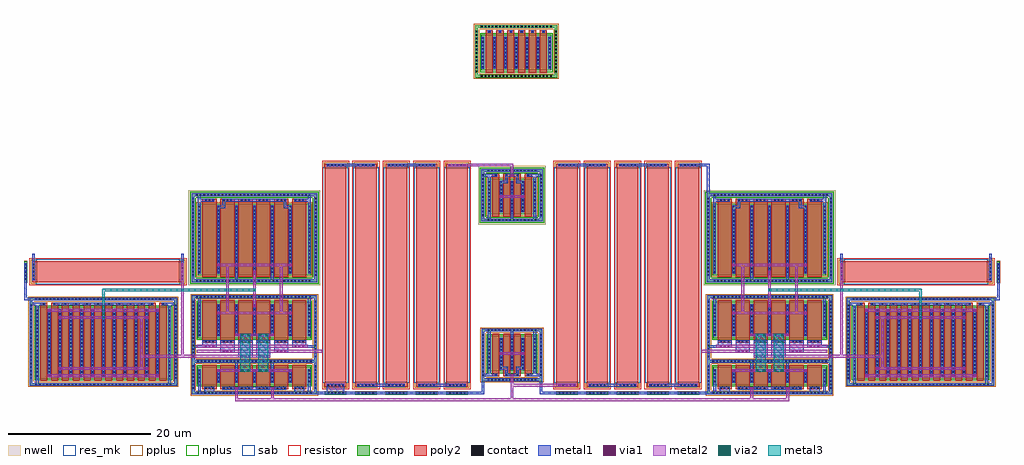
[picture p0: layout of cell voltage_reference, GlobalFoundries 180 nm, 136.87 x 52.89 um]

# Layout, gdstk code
from math import pi, radians
import gdstk
lib = gdstk.Library(unit=1e-6, precision=5e-09)
def R(c, l, rs):  # rectangles x0, y0, x1, y1
    for r in rs: c.add(gdstk.rectangle(r[:2], r[2:], *l))
def A(c, l, x, y, w, h, nx, ny, dx, dy):  # array of equal rectangles
    R(c, l, [(x+i*dx, y+j*dy, x+i*dx+w, y+j*dy+h) for i in range(nx) for j in range(ny)])
def P(c, l, *ps):  # polygons
    for p in ps: c.add(gdstk.Polygon(p, *l))
nwell = (21, 0)
comp = (22, 0)
poly2 = (30, 0)
pplus = (31, 0)
nplus = (32, 0)
contact = (33, 0)
metal1 = (34, 0)
via1 = (35, 0)
metal2 = (36, 0)
via2 = (38, 0)
metal3 = (42, 0)
sab = (49, 0)
resistor = (62, 0)
res_mk = (110, 5)

nfet = lib.new_cell('nfet')
R(nfet, comp, [(-0.42,0,0,2.5), (0,0,14.98,2.5), (14.98,0,15.4,2.5)])
P(nfet, comp, [(-1.28,-1.36),(-1.28,3.11),(-0.9,3.11),(-0.9,-0.98),(15.88,-0.98),(15.88,3.11),(-1.28,3.11),(-1.28,3.49),(16.26,3.49),(16.26,-1.36)])
A(nfet, poly2, 0.19, -0.66, 2, 0.36, 6, 1, 2.52, 0)
A(nfet, poly2, 0.19, -0.3, 2, 3.1, 6, 1, 2.52, 0)
P(nfet, pplus, [(-1.45,-1.53),(-1.45,2.94),(-0.73,2.94),(-0.73,-0.81),(15.71,-0.81),(15.71,2.94),(-1.45,2.94),(-1.45,3.66),(16.43,3.66),(16.43,-1.53)])
R(nfet, nplus, [(-0.59,-0.24,15.57,2.74)])
A(nfet, contact, -0.525, -1.28, 0.22, 0.22, 32, 2, 0.51, 4.47)
A(nfet, contact, 0.57, -0.59, 0.22, 0.22, 3, 1, 0.51, 0)
A(nfet, contact, 3.09, -0.59, 0.22, 0.22, 3, 1, 0.51, 0)
A(nfet, contact, 5.61, -0.59, 0.22, 0.22, 3, 1, 0.51, 0)
A(nfet, contact, 8.13, -0.59, 0.22, 0.22, 3, 1, 0.51, 0)
A(nfet, contact, 10.65, -0.59, 0.22, 0.22, 3, 1, 0.51, 0)
A(nfet, contact, 13.17, -0.59, 0.22, 0.22, 3, 1, 0.51, 0)
A(nfet, contact, -1.2, -0.575, 0.22, 0.22, 1, 7, 0, 0.51)
A(nfet, contact, 15.96, -0.575, 0.22, 0.22, 1, 7, 0, 0.51)
A(nfet, contact, -0.32, 0.375, 0.22, 0.22, 1, 4, 0, 0.51)
A(nfet, contact, 2.34, 0.375, 0.22, 0.22, 5, 4, 2.52, 0.51)
A(nfet, contact, 15.08, 0.375, 0.22, 0.22, 1, 4, 0, 0.51)
A(nfet, metal1, 0.49, -0.67, 1.4, 0.38, 6, 1, 2.52, 0)
A(nfet, metal1, 2.26, 0.295, 0.38, 1.91, 5, 1, 2.52, 0)
R(nfet, metal1, [(-0.4,0.295,-0.02,2.205), (15,0.295,15.38,2.205)])

nfet_3 = lib.new_cell('nfet$3')
R(nfet_3, comp, [(-0.42,0,0,10), (0,0,18.1,10), (18.1,0,18.52,10)])
P(nfet_3, comp, [(-1.28,-0.99),(-1.28,10.98),(-0.9,10.98),(-0.9,-0.61),(19,-0.61),(19,10.98),(-1.28,10.98),(-1.28,11.36),(19.38,11.36),(19.38,-0.99)])
A(nfet_3, poly2, 0.19, -0.3, 1, 10.6, 12, 1, 1.52, 0)
A(nfet_3, poly2, 0.19, 10.3, 1, 0.36, 12, 1, 1.52, 0)
P(nfet_3, pplus, [(-1.45,-1.16),(-1.45,10.81),(-0.73,10.81),(-0.73,-0.44),(18.83,-0.44),(18.83,10.81),(-1.45,10.81),(-1.45,11.53),(19.55,11.53),(19.55,-1.16)])
R(nfet_3, nplus, [(-0.59,-0.24,18.69,10.24)])
A(nfet_3, contact, -0.495, -0.91, 0.22, 0.22, 38, 2, 0.51, 11.97)
A(nfet_3, contact, -1.2, -0.025, 0.22, 0.22, 1, 21, 0, 0.51)
A(nfet_3, contact, 19.08, -0.025, 0.22, 0.22, 1, 21, 0, 0.51)
A(nfet_3, contact, -0.32, 0.3, 0.22, 0.22, 1, 19, 0, 0.51)
A(nfet_3, contact, 1.34, 0.3, 0.22, 0.22, 11, 19, 1.52, 0.51)
A(nfet_3, contact, 18.2, 0.3, 0.22, 0.22, 1, 19, 0, 0.51)
A(nfet_3, contact, 0.58, 10.37, 0.22, 0.22, 12, 1, 1.52, 0)
A(nfet_3, metal1, 1.26, 0.22, 0.38, 9.56, 11, 1, 1.52, 0)
A(nfet_3, metal1, 0.5, 10.29, 0.38, 0.38, 12, 1, 1.52, 0)
R(nfet_3, metal1, [(-0.4,0.22,-0.02,9.78), (18.12,0.22,18.5,9.78)])

ppolyf_u_high_rs_resisto = lib.new_cell('ppolyf_u_high_Rs_resistor')
R(ppolyf_u_high_rs_resisto, comp, [(-1.76,0,-1.34,3)])
R(ppolyf_u_high_rs_resisto, poly2, [(-0.64,0,20.64,3)])
R(ppolyf_u_high_rs_resisto, pplus, [(-0.82,-0.18,0,3.18), (20,-0.18,20.82,3.18), (-1.78,-0.02,-1.32,3.02)])
A(ppolyf_u_high_rs_resisto, contact, -1.66, 0.37, 0.22, 0.22, 1, 5, 0, 0.51)
A(ppolyf_u_high_rs_resisto, contact, -0.57, 0.37, 0.22, 0.22, 1, 5, 0, 0.51)
A(ppolyf_u_high_rs_resisto, contact, 20.35, 0.37, 0.22, 0.22, 1, 5, 0, 0.51)
R(ppolyf_u_high_rs_resisto, metal1, [(-1.74,0.29,-1.36,2.71), (-0.65,0.29,-0.27,2.71), (20.27,0.29,20.65,2.71)])
R(ppolyf_u_high_rs_resisto, sab, [(-0.1,-0.28,20.1,3.28)])
R(ppolyf_u_high_rs_resisto, resistor, [(-1.04,-0.4,21.04,3.4)])
R(ppolyf_u_high_rs_resisto, res_mk, [(0,0,20,3)])

pfet = lib.new_cell('pfet')
R(pfet, nwell, [(-1.76,-1.81,7.7,6.43)])
R(pfet, comp, [(-0.46,0,0,5), (0,0,5.94,5), (5.94,0,6.4,5)])
P(pfet, comp, [(-1.32,-1.37),(-1.32,5.61),(-0.94,5.61),(-0.94,-0.99),(6.88,-0.99),(6.88,5.61),(-1.32,5.61),(-1.32,5.99),(7.26,5.99),(7.26,-1.37)])
A(pfet, poly2, 0.19, -0.68, 1, 0.38, 4, 1, 1.52, 0)
A(pfet, poly2, 0.19, -0.3, 1, 5.6, 4, 1, 1.52, 0)
R(pfet, pplus, [(-0.63,-0.24,6.57,5.24)])
A(pfet, contact, -0.455, -1.29, 0.22, 0.22, 14, 2, 0.51, 6.98)
A(pfet, contact, -1.24, -0.605, 0.22, 0.22, 1, 12, 0, 0.51)
A(pfet, contact, 6.96, -0.605, 0.22, 0.22, 1, 12, 0, 0.51)
A(pfet, contact, 0.58, -0.6, 0.22, 0.22, 4, 1, 1.52, 0)
A(pfet, contact, -0.34, 0.35, 0.22, 0.22, 1, 9, 0, 0.51)
A(pfet, contact, 1.34, 0.35, 0.22, 0.22, 3, 9, 1.52, 0.51)
A(pfet, contact, 6.06, 0.35, 0.22, 0.22, 1, 9, 0, 0.51)
A(pfet, metal1, 0.5, -0.68, 0.38, 0.38, 4, 1, 1.52, 0)
A(pfet, metal1, 1.26, 0.27, 0.38, 4.46, 3, 1, 1.52, 0)
R(pfet, metal1, [(-0.42,0.27,-0.04,4.73), (5.98,0.27,6.36,4.73)])

c_ppolyf_u_high_rs_resisto = lib.new_cell('ppolyf_u_high_Rs_resistor$1')
R(c_ppolyf_u_high_rs_resisto, comp, [(-1.76,0,-1.34,3)])
R(c_ppolyf_u_high_rs_resisto, poly2, [(-0.64,0,30.64,3)])
R(c_ppolyf_u_high_rs_resisto, pplus, [(-0.82,-0.18,0,3.18), (30,-0.18,30.82,3.18), (-1.78,-0.02,-1.32,3.02)])
A(c_ppolyf_u_high_rs_resisto, contact, -1.66, 0.37, 0.22, 0.22, 1, 5, 0, 0.51)
A(c_ppolyf_u_high_rs_resisto, contact, -0.57, 0.37, 0.22, 0.22, 1, 5, 0, 0.51)
A(c_ppolyf_u_high_rs_resisto, contact, 30.35, 0.37, 0.22, 0.22, 1, 5, 0, 0.51)
R(c_ppolyf_u_high_rs_resisto, metal1, [(-1.74,0.29,-1.36,2.71), (-0.65,0.29,-0.27,2.71), (30.27,0.29,30.65,2.71)])
R(c_ppolyf_u_high_rs_resisto, sab, [(-0.1,-0.28,30.1,3.28)])
R(c_ppolyf_u_high_rs_resisto, resistor, [(-1.04,-0.4,31.04,3.4)])
R(c_ppolyf_u_high_rs_resisto, res_mk, [(0,0,30,3)])

nfet_2 = lib.new_cell('nfet$2')
R(nfet_2, comp, [(-0.42,0,0,5), (0,0,5.94,5), (5.94,0,6.36,5)])
P(nfet_2, comp, [(-1.28,-0.99),(-1.28,5.98),(-0.9,5.98),(-0.9,-0.61),(6.84,-0.61),(6.84,5.98),(-1.28,5.98),(-1.28,6.36),(7.22,6.36),(7.22,-0.99)])
A(nfet_2, poly2, 0.19, -0.3, 1, 5.6, 4, 1, 1.52, 0)
A(nfet_2, poly2, 0.19, 5.3, 1, 0.36, 4, 1, 1.52, 0)
P(nfet_2, pplus, [(-1.45,-1.16),(-1.45,5.81),(-0.73,5.81),(-0.73,-0.44),(6.67,-0.44),(6.67,5.81),(-1.45,5.81),(-1.45,6.53),(7.39,6.53),(7.39,-1.16)])
R(nfet_2, nplus, [(-0.59,-0.24,6.53,5.24)])
A(nfet_2, contact, -0.455, -0.91, 0.22, 0.22, 14, 2, 0.51, 6.97)
A(nfet_2, contact, -1.2, -0.23, 0.22, 0.22, 1, 12, 0, 0.51)
A(nfet_2, contact, 6.92, -0.23, 0.22, 0.22, 1, 12, 0, 0.51)
A(nfet_2, contact, -0.32, 0.35, 0.22, 0.22, 1, 9, 0, 0.51)
A(nfet_2, contact, 1.34, 0.35, 0.22, 0.22, 3, 9, 1.52, 0.51)
A(nfet_2, contact, 6.04, 0.35, 0.22, 0.22, 1, 9, 0, 0.51)
A(nfet_2, contact, 0.58, 5.37, 0.22, 0.22, 4, 1, 1.52, 0)
A(nfet_2, metal1, 1.26, 0.27, 0.38, 4.46, 3, 1, 1.52, 0)
A(nfet_2, metal1, 0.5, 5.29, 0.38, 0.38, 4, 1, 1.52, 0)
R(nfet_2, metal1, [(-0.4,0.27,-0.02,4.73), (5.96,0.27,6.34,4.73)])

nfet_4 = lib.new_cell('nfet$4')
R(nfet_4, comp, [(-0.42,0,0,5), (0,0,8.98,5), (8.98,0,9.4,5)])
P(nfet_4, comp, [(-1.28,-0.99),(-1.28,5.98),(-0.9,5.98),(-0.9,-0.61),(9.88,-0.61),(9.88,5.98),(-1.28,5.98),(-1.28,6.36),(10.26,6.36),(10.26,-0.99)])
A(nfet_4, poly2, 0.19, -0.3, 1, 5.6, 6, 1, 1.52, 0)
A(nfet_4, poly2, 0.19, 5.3, 1, 0.36, 6, 1, 1.52, 0)
P(nfet_4, pplus, [(-1.45,-1.16),(-1.45,5.81),(-0.73,5.81),(-0.73,-0.44),(9.71,-0.44),(9.71,5.81),(-1.45,5.81),(-1.45,6.53),(10.43,6.53),(10.43,-1.16)])
R(nfet_4, nplus, [(-0.59,-0.24,9.57,5.24)])
A(nfet_4, contact, -0.465, -0.91, 0.22, 0.22, 20, 2, 0.51, 6.97)
A(nfet_4, contact, -1.2, -0.23, 0.22, 0.22, 1, 12, 0, 0.51)
A(nfet_4, contact, 9.96, -0.23, 0.22, 0.22, 1, 12, 0, 0.51)
A(nfet_4, contact, -0.32, 0.35, 0.22, 0.22, 1, 9, 0, 0.51)
A(nfet_4, contact, 1.34, 0.35, 0.22, 0.22, 5, 9, 1.52, 0.51)
A(nfet_4, contact, 9.08, 0.35, 0.22, 0.22, 1, 9, 0, 0.51)
A(nfet_4, contact, 0.58, 5.37, 0.22, 0.22, 6, 1, 1.52, 0)
A(nfet_4, metal1, 1.26, 0.27, 0.38, 4.46, 5, 1, 1.52, 0)
A(nfet_4, metal1, 0.5, 5.29, 0.38, 0.38, 6, 1, 1.52, 0)
R(nfet_4, metal1, [(-0.4,0.27,-0.02,4.73), (9,0.27,9.38,4.73)])

voltage_reference = lib.new_cell('voltage_reference')
R(voltage_reference, nwell, [(6.62,29.03,25.12,42.345), (78.88,29.03,97.38,42.345)])
R(voltage_reference, comp, [(7.96,21.615,8.38,26.615), (8.38,21.615,23.36,26.615), (23.36,21.615,23.78,26.615), (80.22,21.615,80.64,26.615), (80.64,21.615,95.62,26.615), (95.62,21.615,96.04,26.615), (7.92,30.46,8.38,40.46), (8.38,30.46,23.36,40.46), (23.36,30.46,23.82,40.46), (80.18,30.46,80.64,40.46), (80.64,30.46,95.62,40.46), (95.62,30.46,96.08,40.46)])
P(voltage_reference, comp, [(79.36,18.185),(79.36,27.225),(79.74,27.225),(79.74,18.565),(96.52,18.565),(96.52,27.225),(79.36,27.225),(79.36,27.605),(96.9,27.605),(96.9,18.185)],
  [(79.32,29.47),(79.32,41.525),(79.7,41.525),(79.7,29.85),(96.56,29.85),(96.56,41.525),(79.32,41.525),(79.32,41.905),(96.94,41.905),(96.94,29.47)],
  [(7.1,18.185),(7.1,27.605),(24.64,27.605),(24.64,27.225),(7.48,27.225),(7.48,18.565),(24.26,18.565),(24.26,27.225),(24.64,27.225),(24.64,18.185)],
  [(7.06,29.47),(7.06,41.905),(24.68,41.905),(24.68,41.525),(7.44,41.525),(7.44,29.85),(24.3,29.85),(24.3,41.525),(24.68,41.525),(24.68,29.47)])
A(voltage_reference, poly2, 8.57, 20.955, 2, 0.36, 6, 1, 2.52, 0)
A(voltage_reference, poly2, 80.83, 20.955, 2, 0.36, 6, 1, 2.52, 0)
A(voltage_reference, poly2, 8.57, 21.315, 2, 5.6, 6, 1, 2.52, 0)
A(voltage_reference, poly2, 80.83, 21.315, 2, 5.6, 6, 1, 2.52, 0)
A(voltage_reference, poly2, 8.57, 30.16, 2, 10.6, 6, 1, 2.52, 0)
A(voltage_reference, poly2, 80.83, 30.16, 2, 10.6, 6, 1, 2.52, 0)
A(voltage_reference, poly2, 8.57, 40.76, 2, 0.38, 6, 1, 2.52, 0)
A(voltage_reference, poly2, 80.83, 40.76, 2, 0.38, 6, 1, 2.52, 0)
R(voltage_reference, pplus, [(7.75,30.22,23.99,40.7), (80.01,30.22,96.25,40.7)])
P(voltage_reference, pplus, [(79.19,18.015),(79.19,27.055),(79.91,27.055),(79.91,18.735),(96.35,18.735),(96.35,27.055),(79.19,27.055),(79.19,27.775),(97.07,27.775),(97.07,18.015)],
  [(6.93,18.015),(6.93,27.775),(24.81,27.775),(24.81,27.055),(7.65,27.055),(7.65,18.735),(24.09,18.735),(24.09,27.055),(24.81,27.055),(24.81,18.015)])
R(voltage_reference, nplus, [(7.79,21.375,23.95,26.855), (80.05,21.375,96.21,26.855)])
A(voltage_reference, contact, 7.855, 18.265, 0.22, 0.22, 32, 1, 0.51, 0)
A(voltage_reference, contact, 80.115, 18.265, 0.22, 0.22, 32, 1, 0.51, 0)
A(voltage_reference, contact, 7.18, 18.96, 0.22, 0.22, 1, 16, 0, 0.51)
A(voltage_reference, contact, 24.34, 18.96, 0.22, 0.22, 1, 16, 0, 0.51)
A(voltage_reference, contact, 79.44, 18.96, 0.22, 0.22, 1, 16, 0, 0.51)
A(voltage_reference, contact, 96.6, 18.96, 0.22, 0.22, 1, 16, 0, 0.51)
A(voltage_reference, contact, 8.95, 21.025, 0.22, 0.22, 3, 2, 0.51, 19.815)
A(voltage_reference, contact, 11.47, 21.025, 0.22, 0.22, 3, 2, 0.51, 19.815)
A(voltage_reference, contact, 13.99, 21.025, 0.22, 0.22, 3, 2, 0.51, 19.815)
A(voltage_reference, contact, 16.51, 21.025, 0.22, 0.22, 3, 2, 0.51, 19.815)
A(voltage_reference, contact, 19.03, 21.025, 0.22, 0.22, 3, 2, 0.51, 19.815)
A(voltage_reference, contact, 21.55, 21.025, 0.22, 0.22, 3, 2, 0.51, 19.815)
A(voltage_reference, contact, 81.21, 21.025, 0.22, 0.22, 3, 2, 0.51, 19.815)
A(voltage_reference, contact, 83.73, 21.025, 0.22, 0.22, 3, 2, 0.51, 19.815)
A(voltage_reference, contact, 86.25, 21.025, 0.22, 0.22, 3, 2, 0.51, 19.815)
A(voltage_reference, contact, 88.77, 21.025, 0.22, 0.22, 3, 2, 0.51, 19.815)
A(voltage_reference, contact, 91.29, 21.025, 0.22, 0.22, 3, 2, 0.51, 19.815)
A(voltage_reference, contact, 93.81, 21.025, 0.22, 0.22, 3, 2, 0.51, 19.815)
A(voltage_reference, contact, 8.06, 21.965, 0.22, 0.22, 1, 9, 0, 0.51)
A(voltage_reference, contact, 10.72, 21.965, 0.22, 0.22, 5, 9, 2.52, 0.51)
A(voltage_reference, contact, 23.46, 21.965, 0.22, 0.22, 1, 9, 0, 0.51)
A(voltage_reference, contact, 80.32, 21.965, 0.22, 0.22, 1, 9, 0, 0.51)
A(voltage_reference, contact, 82.98, 21.965, 0.22, 0.22, 5, 9, 2.52, 0.51)
A(voltage_reference, contact, 95.72, 21.965, 0.22, 0.22, 1, 9, 0, 0.51)
A(voltage_reference, contact, 7.73, 27.305, 0.22, 0.22, 32, 1, 0.51, 0)
A(voltage_reference, contact, 80.24, 27.305, 0.22, 0.22, 32, 1, 0.51, 0)
A(voltage_reference, contact, 7.71, 29.55, 0.22, 0.22, 32, 2, 0.51, 12.055)
A(voltage_reference, contact, 80.26, 29.55, 0.22, 0.22, 32, 2, 0.51, 12.055)
A(voltage_reference, contact, 7.14, 30.365, 0.22, 0.22, 1, 22, 0, 0.51)
A(voltage_reference, contact, 24.38, 30.365, 0.22, 0.22, 1, 22, 0, 0.51)
A(voltage_reference, contact, 79.4, 30.365, 0.22, 0.22, 1, 22, 0, 0.51)
A(voltage_reference, contact, 96.64, 30.365, 0.22, 0.22, 1, 22, 0, 0.51)
A(voltage_reference, contact, 8.04, 30.76, 0.22, 0.22, 1, 19, 0, 0.51)
A(voltage_reference, contact, 10.72, 30.76, 0.22, 0.22, 5, 19, 2.52, 0.51)
A(voltage_reference, contact, 23.48, 30.76, 0.22, 0.22, 1, 19, 0, 0.51)
A(voltage_reference, contact, 80.3, 30.76, 0.22, 0.22, 1, 19, 0, 0.51)
A(voltage_reference, contact, 82.98, 30.76, 0.22, 0.22, 5, 19, 2.52, 0.51)
A(voltage_reference, contact, 95.74, 30.76, 0.22, 0.22, 1, 19, 0, 0.51)
A(voltage_reference, metal1, 8.87, 20.945, 1.4, 0.38, 6, 2, 2.52, 19.815)
A(voltage_reference, metal1, 81.13, 20.945, 1.4, 0.38, 6, 2, 2.52, 19.815)
A(voltage_reference, metal1, 10.64, 21.885, 0.38, 4.46, 5, 1, 2.52, 0)
A(voltage_reference, metal1, 82.9, 21.885, 0.38, 4.46, 5, 1, 2.52, 0)
A(voltage_reference, metal1, 10.64, 30.68, 0.38, 9.56, 5, 1, 2.52, 0)
A(voltage_reference, metal1, 82.9, 30.68, 0.38, 9.56, 5, 1, 2.52, 0)
R(voltage_reference, metal1, [(26.05,13.715,28.47,15.185), (26.05,13.715,45.51,14.095), (58.49,13.715,77.95,14.095), (8.87,14.095,10.27,14.405), (21.47,14.095,22.87,14.405), (81.13,14.095,82.53,14.405), (93.73,14.095,95.13,14.405), (11.39,14.405,20.35,14.785), (83.65,14.405,92.61,14.785), (30.31,14.805,36.99,15.185), (38.83,14.805,45.51,15.185), (62.75,14.805,69.43,15.185), (71.27,14.805,77.95,15.185), (51.05,16.275,52.95,16.655), (13.61,18.875,15.61,21.325), (16.13,18.875,18.13,21.325), (85.87,18.875,87.87,21.325), (88.39,18.875,90.39,21.325), (11.09,19.565,13.09,21.325), (18.65,19.565,20.65,21.325), (83.35,19.565,85.35,21.325), (90.91,19.565,92.91,21.325), (8.57,20.255,10.57,21.325), (21.17,20.255,23.17,21.325), (80.83,20.255,82.83,21.325), (93.43,20.255,95.43,21.325), (7.98,21.885,8.36,26.345), (23.38,21.885,23.76,26.345), (80.24,21.885,80.62,26.345), (95.64,21.885,96.02,26.345), (-12.335,26.215,1.725,26.595), (102.275,26.215,116.335,26.595), (7.96,30.68,8.34,40.24), (23.4,30.68,23.78,40.24), (80.22,30.68,80.6,40.24), (95.66,30.68,96.04,40.24), (11.39,40.76,20.35,41.14), (83.65,40.76,92.61,41.14), (51.05,44.255,52.95,44.635), (26.05,45.725,32.73,46.105), (34.57,45.725,41.25,46.105), (58.49,45.725,65.17,46.105), (67.01,45.725,73.69,46.105)])
A(voltage_reference, via1, 58.55, 14.865, 0.26, 0.26, 3, 1, 1.02, 0)
A(voltage_reference, via1, -13.035, 16.21, 0.26, 0.26, 6, 2, 3.04, 9.175)
A(voltage_reference, via1, 101.575, 16.21, 0.26, 0.26, 6, 2, 3.04, 9.175)
A(voltage_reference, via1, -11.515, 17.23, 0.26, 0.26, 5, 2, 3.04, 7.135)
A(voltage_reference, via1, 103.095, 17.23, 0.26, 0.26, 5, 2, 3.04, 7.135)
A(voltage_reference, via1, 13.95, 18.945, 0.26, 0.26, 3, 1, 0.53, 0)
A(voltage_reference, via1, 16.47, 18.945, 0.26, 0.26, 3, 1, 0.53, 0)
A(voltage_reference, via1, 86.21, 18.945, 0.26, 0.26, 3, 1, 0.53, 0)
A(voltage_reference, via1, 88.73, 18.945, 0.26, 0.26, 3, 1, 0.53, 0)
A(voltage_reference, via1, 11.43, 19.635, 0.26, 0.26, 3, 1, 0.53, 0)
A(voltage_reference, via1, 18.99, 19.635, 0.26, 0.26, 3, 1, 0.53, 0)
A(voltage_reference, via1, 83.69, 19.635, 0.26, 0.26, 3, 1, 0.53, 0)
A(voltage_reference, via1, 91.25, 19.635, 0.26, 0.26, 3, 1, 0.53, 0)
A(voltage_reference, via1, 8.91, 20.325, 0.26, 0.26, 3, 1, 0.53, 0)
A(voltage_reference, via1, 21.51, 20.325, 0.26, 0.26, 3, 1, 0.53, 0)
A(voltage_reference, via1, 81.17, 20.325, 0.26, 0.26, 3, 1, 0.53, 0)
A(voltage_reference, via1, 93.77, 20.325, 0.26, 0.26, 3, 1, 0.53, 0)
A(voltage_reference, via1, 43.15, 45.785, 0.26, 0.26, 3, 1, 1.02, 0)
R(voltage_reference, via1, [(13.22,14.46,13.48,14.72), (18.265,14.46,18.525,14.72), (85.485,14.46,85.745,14.72), (90.525,14.46,90.785,14.72), (51.875,16.34,52.135,16.6), (10.7,16.96,10.96,17.22), (20.78,16.96,21.04,17.22), (82.96,16.96,83.22,17.22), (93.04,16.96,93.3,17.22), (15.74,16.965,16,17.225), (88,16.965,88.26,17.225), (50.35,19.31,50.61,19.57), (53.39,19.31,53.65,19.57), (13.22,21.945,13.48,22.205), (18.26,21.945,18.52,22.205), (85.48,21.945,85.74,22.205), (90.52,21.945,90.78,22.205), (10.7,25.005,10.96,25.265), (20.78,25.005,21.04,25.265), (82.96,25.005,83.22,25.265), (93.04,25.005,93.3,25.265), (15.74,26.03,16,26.29), (88,26.03,88.26,26.29), (5.675,29.78,5.935,30.04), (98.065,29.78,98.325,30.04), (15.74,30.74,16,31), (88,30.74,88.26,31), (5.675,30.795,5.935,31.055), (98.065,30.795,98.325,31.055), (10.7,31.76,10.96,32.02), (20.78,31.76,21.04,32.02), (82.96,31.76,83.22,32.02), (93.04,31.76,93.3,32.02), (5.675,31.82,5.935,32.08), (98.065,31.82,98.325,32.08), (50.35,41.34,50.61,41.6), (53.39,41.34,53.65,41.6), (51.875,44.31,52.135,44.57)])
R(voltage_reference, metal2, [(7.79,18.875,18.13,19.275), (85.87,18.875,96.21,19.275), (7.79,19.565,25.425,19.965), (78.575,19.565,96.21,19.965), (7.79,20.255,23.36,20.655), (80.64,20.255,96.21,20.655)])
R(voltage_reference, via2, [(14.02,16.96,14.28,17.22), (14.93,16.96,15.19,17.22), (16.55,16.96,16.81,17.22), (17.46,16.96,17.72,17.22), (86.28,16.96,86.54,17.22), (87.19,16.96,87.45,17.22), (88.81,16.96,89.07,17.22), (89.72,16.96,89.98,17.22), (14.02,21.945,14.28,22.205), (14.93,21.945,15.19,22.205), (16.55,21.945,16.81,22.205), (17.46,21.945,17.72,22.205), (86.28,21.945,86.54,22.205), (87.19,21.945,87.45,22.205), (88.81,21.945,89.07,22.205), (89.72,21.945,89.98,22.205), (-5.435,24.365,-5.175,24.625), (109.175,24.365,109.435,24.625), (15.74,28.24,16,28.5), (88,28.24,88.26,28.5)])
R(voltage_reference, metal3, [(13.905,16.9,15.31,22.265), (16.425,16.9,17.83,22.265), (86.17,16.9,87.575,22.265), (88.69,16.9,90.095,22.265)])
voltage_reference.add(gdstk.FlexPath([(79.55,14.5),(79.55,27.415),(96.71,27.415),(96.71,14.5),(96.71,14.5),(96.71,13.905),(79.55,13.905),(79.55,14.5)], 0.38, ends="flush", simple_path=True, layer=34, datatype=0))  # metal1
voltage_reference.add(gdstk.FlexPath([(79.74,18.375),(96.52,18.375)], 0.38, ends="flush", simple_path=True, layer=34, datatype=0))  # metal1
voltage_reference.add(gdstk.FlexPath([(79.51,41.01),(79.51,29.66),(96.75,29.66),(96.75,41.715),(79.51,41.715),(79.51,41.01)], 0.38, ends="flush", simple_path=True, layer=34, datatype=0))  # metal1
voltage_reference.add(gdstk.FlexPath([(80.43,15.37),(80.43,14.095)], 0.38, ends="flush", simple_path=True, layer=34, datatype=0))  # metal1
voltage_reference.add(gdstk.FlexPath([(77.95,13.905),(79.36,13.905)], 0.38, ends="flush", simple_path=True, layer=34, datatype=0))  # metal1
voltage_reference.add(gdstk.FlexPath([(95.83,15.37),(95.83,14.095)], 0.38, ends="flush", simple_path=True, layer=34, datatype=0))  # metal1
voltage_reference.add(gdstk.FlexPath([(80.83,20.455),(79.74,20.455)], 0.38, ends="flush", simple_path=True, layer=34, datatype=0))  # metal1
voltage_reference.add(gdstk.FlexPath([(80.43,26.345),(80.43,27.225)], 0.38, ends="flush", simple_path=True, layer=34, datatype=0))  # metal1
voltage_reference.add(gdstk.FlexPath([(95.83,26.345),(95.83,27.225)], 0.38, ends="flush", simple_path=True, layer=34, datatype=0))  # metal1
voltage_reference.add(gdstk.FlexPath([(95.43,20.455),(96.52,20.455)], 0.38, ends="flush", simple_path=True, layer=34, datatype=0))  # metal1
voltage_reference.add(gdstk.FlexPath([(83.28,40.05),(83.84,40.05),(83.84,40.76),(83.84,40.76)], 0.38, ends="flush", simple_path=True, layer=34, datatype=0))  # metal1
voltage_reference.add(gdstk.FlexPath([(92.98,40.05),(92.42,40.05),(92.42,40.76)], 0.38, ends="flush", simple_path=True, layer=34, datatype=0))  # metal1
voltage_reference.add(gdstk.FlexPath([(80.41,40.24),(80.41,40.95),(81.13,40.95),(81.13,40.95)], 0.38, ends="flush", simple_path=True, layer=34, datatype=0))  # metal1
voltage_reference.add(gdstk.FlexPath([(95.13,40.95),(95.85,40.95),(95.85,40.24)], 0.38, ends="flush", simple_path=True, layer=34, datatype=0))  # metal1
voltage_reference.add(gdstk.FlexPath([(95.85,41.14),(95.85,41.525)], 0.38, ends="flush", simple_path=True, layer=34, datatype=0))  # metal1
voltage_reference.add(gdstk.FlexPath([(80.41,41.14),(80.41,41.525)], 0.38, ends="flush", simple_path=True, layer=34, datatype=0))  # metal1
voltage_reference.add(gdstk.FlexPath([(85.61,30.68),(85.61,29.85)], 0.38, ends="flush", simple_path=True, layer=34, datatype=0))  # metal1
voltage_reference.add(gdstk.FlexPath([(90.65,30.68),(90.65,29.85)], 0.38, ends="flush", simple_path=True, layer=34, datatype=0))  # metal1
voltage_reference.add(gdstk.FlexPath([(101.135,26.405),(100.045,26.405),(100.045,25.705),(100.045,25.705)], 0.38, ends="flush", simple_path=True, layer=34, datatype=0))  # metal1
voltage_reference.add(gdstk.FlexPath([(118.565,25.705),(118.565,26.405),(117.855,26.405)], 0.38, ends="flush", simple_path=True, layer=34, datatype=0))  # metal1
voltage_reference.add(gdstk.FlexPath([(99.165,26.32),(99.165,15.125),(119.445,15.125),(119.445,27.095),(99.165,27.095),(99.165,26.32)], 0.38, ends="flush", simple_path=True, layer=34, datatype=0))  # metal1
voltage_reference.add(gdstk.FlexPath([(100.045,16.145),(100.045,15.315)], 0.38, ends="flush", simple_path=True, layer=34, datatype=0))  # metal1
voltage_reference.add(gdstk.FlexPath([(118.565,16.145),(118.565,15.315)], 0.38, ends="flush", simple_path=True, layer=34, datatype=0))  # metal1
voltage_reference.add(gdstk.FlexPath([(99.855,26.4),(99.355,26.4)], 0.38, ends="flush", simple_path=True, layer=34, datatype=0))  # metal1
voltage_reference.add(gdstk.FlexPath([(118.755,26.405),(119.255,26.405)], 0.38, ends="flush", simple_path=True, layer=34, datatype=0))  # metal1
voltage_reference.add(gdstk.FlexPath([(98.195,32.14),(98.195,33.465)], 0.38, ends="flush", simple_path=True, layer=34, datatype=0))  # metal1
voltage_reference.add(gdstk.FlexPath([(119.115,32.14),(119.115,33.455)], 0.38, ends="flush", simple_path=True, layer=34, datatype=0))  # metal1
voltage_reference.add(gdstk.FlexPath([(120.205,29.72),(120.205,27.095),(119.635,27.095)], 0.38, ends="flush", simple_path=True, layer=34, datatype=0))  # metal1
voltage_reference.add(gdstk.FlexPath([(85.61,18.565),(85.61,17.28)], 0.38, ends="flush", simple_path=True, layer=34, datatype=0))  # metal1
voltage_reference.add(gdstk.FlexPath([(90.65,18.565),(90.65,17.28)], 0.38, ends="flush", simple_path=True, layer=34, datatype=0))  # metal1
voltage_reference.add(gdstk.FlexPath([(24.45,14.5),(24.45,27.415),(7.29,27.415),(7.29,14.5),(7.29,14.5),(7.29,13.905),(24.45,13.905),(24.45,14.5)], 0.38, ends="flush", simple_path=True, layer=34, datatype=0))  # metal1
voltage_reference.add(gdstk.FlexPath([(24.26,18.375),(7.48,18.375)], 0.38, ends="flush", simple_path=True, layer=34, datatype=0))  # metal1
voltage_reference.add(gdstk.FlexPath([(24.49,41.01),(24.49,29.66),(7.25,29.66),(7.25,41.715),(24.49,41.715),(24.49,41.01)], 0.38, ends="flush", simple_path=True, layer=34, datatype=0))  # metal1
voltage_reference.add(gdstk.FlexPath([(23.57,15.37),(23.57,14.095)], 0.38, ends="flush", simple_path=True, layer=34, datatype=0))  # metal1
voltage_reference.add(gdstk.FlexPath([(8.17,15.37),(8.17,14.095)], 0.38, ends="flush", simple_path=True, layer=34, datatype=0))  # metal1
voltage_reference.add(gdstk.FlexPath([(23.17,20.455),(24.26,20.455)], 0.38, ends="flush", simple_path=True, layer=34, datatype=0))  # metal1
voltage_reference.add(gdstk.FlexPath([(23.57,26.345),(23.57,27.225)], 0.38, ends="flush", simple_path=True, layer=34, datatype=0))  # metal1
voltage_reference.add(gdstk.FlexPath([(8.17,26.345),(8.17,27.225)], 0.38, ends="flush", simple_path=True, layer=34, datatype=0))  # metal1
voltage_reference.add(gdstk.FlexPath([(8.57,20.455),(7.48,20.455)], 0.38, ends="flush", simple_path=True, layer=34, datatype=0))  # metal1
voltage_reference.add(gdstk.FlexPath([(20.72,40.05),(20.16,40.05),(20.16,40.76),(20.16,40.76)], 0.38, ends="flush", simple_path=True, layer=34, datatype=0))  # metal1
voltage_reference.add(gdstk.FlexPath([(11.02,40.05),(11.58,40.05),(11.58,40.76)], 0.38, ends="flush", simple_path=True, layer=34, datatype=0))  # metal1
voltage_reference.add(gdstk.FlexPath([(23.59,40.24),(23.59,40.95),(22.87,40.95),(22.87,40.95)], 0.38, ends="flush", simple_path=True, layer=34, datatype=0))  # metal1
voltage_reference.add(gdstk.FlexPath([(8.87,40.95),(8.15,40.95),(8.15,40.24)], 0.38, ends="flush", simple_path=True, layer=34, datatype=0))  # metal1
voltage_reference.add(gdstk.FlexPath([(8.15,41.14),(8.15,41.525)], 0.38, ends="flush", simple_path=True, layer=34, datatype=0))  # metal1
voltage_reference.add(gdstk.FlexPath([(23.59,41.14),(23.59,41.525)], 0.38, ends="flush", simple_path=True, layer=34, datatype=0))  # metal1
voltage_reference.add(gdstk.FlexPath([(18.39,30.68),(18.39,29.85)], 0.38, ends="flush", simple_path=True, layer=34, datatype=0))  # metal1
voltage_reference.add(gdstk.FlexPath([(13.35,30.68),(13.35,29.85)], 0.38, ends="flush", simple_path=True, layer=34, datatype=0))  # metal1
voltage_reference.add(gdstk.FlexPath([(2.865,26.405),(3.955,26.405),(3.955,25.705),(3.955,25.705)], 0.38, ends="flush", simple_path=True, layer=34, datatype=0))  # metal1
voltage_reference.add(gdstk.FlexPath([(-14.565,25.705),(-14.565,26.405),(-13.855,26.405)], 0.38, ends="flush", simple_path=True, layer=34, datatype=0))  # metal1
voltage_reference.add(gdstk.FlexPath([(4.835,26.32),(4.835,15.125),(-15.445,15.125),(-15.445,27.095),(4.835,27.095),(4.835,26.32)], 0.38, ends="flush", simple_path=True, layer=34, datatype=0))  # metal1
voltage_reference.add(gdstk.FlexPath([(3.955,16.145),(3.955,15.315)], 0.38, ends="flush", simple_path=True, layer=34, datatype=0))  # metal1
voltage_reference.add(gdstk.FlexPath([(-14.565,16.145),(-14.565,15.315)], 0.38, ends="flush", simple_path=True, layer=34, datatype=0))  # metal1
voltage_reference.add(gdstk.FlexPath([(4.145,26.4),(4.645,26.4)], 0.38, ends="flush", simple_path=True, layer=34, datatype=0))  # metal1
voltage_reference.add(gdstk.FlexPath([(-14.755,26.405),(-15.255,26.405)], 0.38, ends="flush", simple_path=True, layer=34, datatype=0))  # metal1
voltage_reference.add(gdstk.FlexPath([(5.805,32.14),(5.805,33.465)], 0.38, ends="flush", simple_path=True, layer=34, datatype=0))  # metal1
voltage_reference.add(gdstk.FlexPath([(-15.115,32.14),(-15.115,33.455)], 0.38, ends="flush", simple_path=True, layer=34, datatype=0))  # metal1
voltage_reference.add(gdstk.FlexPath([(-16.205,29.72),(-16.205,27.095),(-15.635,27.095)], 0.38, ends="flush", simple_path=True, layer=34, datatype=0))  # metal1
voltage_reference.add(gdstk.FlexPath([(18.39,18.565),(18.39,17.28)], 0.38, ends="flush", simple_path=True, layer=34, datatype=0))  # metal1
voltage_reference.add(gdstk.FlexPath([(13.35,18.565),(13.35,17.28)], 0.38, ends="flush", simple_path=True, layer=34, datatype=0))  # metal1
voltage_reference.add(gdstk.FlexPath([(26.05,13.905),(24.64,13.905)], 0.38, ends="flush", simple_path=True, layer=34, datatype=0))  # metal1
voltage_reference.add(gdstk.FlexPath([(48.575,45.145),(56.1,45.145),(56.1,38.165),(47.9,38.165),(47.9,45.145),(48.575,45.145)], 0.38, ends="flush", simple_path=True, layer=34, datatype=0))  # metal1
voltage_reference.add(gdstk.FlexPath([(52.76,44.255),(52.76,43.505),(53.33,43.505)], 0.38, ends="flush", simple_path=True, layer=34, datatype=0))  # metal1
voltage_reference.add(gdstk.FlexPath([(51.24,44.255),(51.24,43.505),(50.29,43.505)], 0.38, ends="flush", simple_path=True, layer=34, datatype=0))  # metal1
voltage_reference.add(gdstk.FlexPath([(55.39,44.455),(55.91,44.455)], 0.38, ends="flush", simple_path=True, layer=34, datatype=0))  # metal1
voltage_reference.add(gdstk.FlexPath([(48.61,44.455),(48.09,44.455)], 0.38, ends="flush", simple_path=True, layer=34, datatype=0))  # metal1
voltage_reference.add(gdstk.FlexPath([(55.2,39.235),(55.2,38.355)], 0.38, ends="flush", simple_path=True, layer=34, datatype=0))  # metal1
voltage_reference.add(gdstk.FlexPath([(52,39.235),(52,38.355)], 0.38, ends="flush", simple_path=True, layer=34, datatype=0))  # metal1
voltage_reference.add(gdstk.FlexPath([(48.8,39.235),(48.8,38.355)], 0.38, ends="flush", simple_path=True, layer=34, datatype=0))  # metal1
voltage_reference.add(gdstk.FlexPath([(55.2,43.695),(55.2,44.455),(54.47,44.455)], 0.38, ends="flush", simple_path=True, layer=34, datatype=0))  # metal1
voltage_reference.add(gdstk.FlexPath([(52.76,16.655),(52.76,17.405),(53.33,17.405)], 0.38, ends="flush", simple_path=True, layer=34, datatype=0))  # metal1
voltage_reference.add(gdstk.FlexPath([(51.24,16.655),(51.24,17.405),(50.29,17.405)], 0.38, ends="flush", simple_path=True, layer=34, datatype=0))  # metal1
voltage_reference.add(gdstk.FlexPath([(55.37,16.465),(55.87,16.465)], 0.38, ends="flush", simple_path=True, layer=34, datatype=0))  # metal1
voltage_reference.add(gdstk.FlexPath([(48.63,16.465),(48.13,16.465)], 0.38, ends="flush", simple_path=True, layer=34, datatype=0))  # metal1
voltage_reference.add(gdstk.FlexPath([(55.18,21.675),(55.18,22.555)], 0.38, ends="flush", simple_path=True, layer=34, datatype=0))  # metal1
voltage_reference.add(gdstk.FlexPath([(52,21.675),(52,22.555)], 0.38, ends="flush", simple_path=True, layer=34, datatype=0))  # metal1
voltage_reference.add(gdstk.FlexPath([(48.82,21.675),(48.82,22.555)], 0.38, ends="flush", simple_path=True, layer=34, datatype=0))  # metal1
voltage_reference.add(gdstk.FlexPath([(48.575,22.745),(56.06,22.745),(56.06,15.775),(47.94,15.775),(47.94,22.745),(48.575,22.745)], 0.38, ends="flush", simple_path=True, layer=34, datatype=0))  # metal1
voltage_reference.add(gdstk.FlexPath([(55.18,17.215),(55.18,16.465),(54.47,16.465)], 0.38, ends="flush", simple_path=True, layer=34, datatype=0))  # metal1
voltage_reference.add(gdstk.FlexPath([(49.53,16.465),(48.82,16.465),(48.82,17.215)], 0.38, ends="flush", simple_path=True, layer=34, datatype=0))  # metal1
voltage_reference.add(gdstk.FlexPath([(49.53,44.455),(48.8,44.455),(48.8,43.695)], 0.38, ends="flush", simple_path=True, layer=34, datatype=0))  # metal1
voltage_reference.add(gdstk.FlexPath([(45.51,13.905),(47.94,13.905),(47.94,15.585)], 0.38, ends="flush", simple_path=True, layer=34, datatype=0))  # metal1
voltage_reference.add(gdstk.FlexPath([(58.49,13.905),(56.06,13.905),(56.06,15.585)], 0.38, ends="flush", simple_path=True, layer=34, datatype=0))  # metal1
voltage_reference.add(gdstk.FlexPath([(77.95,45.915),(79.51,45.915),(79.51,41.905)], 0.38, ends="flush", simple_path=True, layer=34, datatype=0))  # metal1
voltage_reference.add(gdstk.FlexPath([(79.51,30.365),(79.51,41.715),(96.75,41.715),(96.75,29.66),(79.51,29.66),(79.51,30.365)], 0.8, ends="flush", simple_path=True, layer=32, datatype=0))  # nplus
voltage_reference.add(gdstk.FlexPath([(24.49,30.365),(24.49,41.715),(7.25,41.715),(7.25,29.66),(24.49,29.66),(24.49,30.365)], 0.8, ends="flush", simple_path=True, layer=32, datatype=0))  # nplus
voltage_reference.add(gdstk.FlexPath([(48.575,45.145),(56.1,45.145),(56.1,38.165),(47.9,38.165),(47.9,45.145),(48.575,45.145)], 0.8, ends="flush", simple_path=True, layer=32, datatype=0))  # nplus
voltage_reference.add(gdstk.FlexPath([(85.42,22.075),(90.84,22.075)], 0.38, ends="flush", simple_path=True, layer=36, datatype=0))  # metal2
voltage_reference.add(gdstk.FlexPath([(82.9,17.09),(93.36,17.09)], 0.38, ends="flush", simple_path=True, layer=36, datatype=0))  # metal2
voltage_reference.add(gdstk.FlexPath([(82.9,25.135),(93.36,25.135)], 0.38, ends="flush", simple_path=True, layer=36, datatype=0))  # metal2
voltage_reference.add(gdstk.FlexPath([(82.9,31.89),(93.36,31.89)], 0.38, ends="flush", simple_path=True, layer=36, datatype=0))  # metal2
voltage_reference.add(gdstk.FlexPath([(88.13,25.975),(88.13,31.07)], 0.38, ends="flush", simple_path=True, layer=36, datatype=0))  # metal2
voltage_reference.add(gdstk.FlexPath([(84.345,31.7),(84.345,25.325)], 0.38, ends="flush", simple_path=True, layer=36, datatype=0))  # metal2
voltage_reference.add(gdstk.FlexPath([(91.91,31.7),(91.91,25.325)], 0.38, ends="flush", simple_path=True, layer=36, datatype=0))  # metal2
voltage_reference.add(gdstk.FlexPath([(117.095,25.515),(101.515,25.515)], 0.38, ends="flush", simple_path=True, layer=36, datatype=0))  # metal2
voltage_reference.add(gdstk.FlexPath([(103.035,24.495),(115.575,24.495)], 0.38, ends="flush", simple_path=True, layer=36, datatype=0))  # metal2
voltage_reference.add(gdstk.FlexPath([(117.095,16.34),(101.515,16.34)], 0.38, ends="flush", simple_path=True, layer=36, datatype=0))  # metal2
voltage_reference.add(gdstk.FlexPath([(103.035,17.36),(115.575,17.36)], 0.38, ends="flush", simple_path=True, layer=36, datatype=0))  # metal2
voltage_reference.add(gdstk.FlexPath([(96.21,19.075),(103.97,19.075),(103.97,24.305)], 0.38, ends="flush", simple_path=True, layer=36, datatype=0))  # metal2
voltage_reference.add(gdstk.FlexPath([(103.97,18.885),(103.97,17.55)], 0.38, ends="flush", simple_path=True, layer=36, datatype=0))  # metal2
voltage_reference.add(gdstk.FlexPath([(98.195,32.14),(98.195,18.885)], 0.38, ends="flush", simple_path=True, layer=36, datatype=0))  # metal2
voltage_reference.add(gdstk.FlexPath([(52,14.805),(52,12.98),(90.66,12.98),(90.66,14.785)], 0.38, ends="flush", simple_path=True, layer=36, datatype=0))  # metal2
voltage_reference.add(gdstk.FlexPath([(18.58,22.075),(13.16,22.075)], 0.38, ends="flush", simple_path=True, layer=36, datatype=0))  # metal2
voltage_reference.add(gdstk.FlexPath([(21.1,17.09),(10.64,17.09)], 0.38, ends="flush", simple_path=True, layer=36, datatype=0))  # metal2
voltage_reference.add(gdstk.FlexPath([(21.1,25.135),(10.64,25.135)], 0.38, ends="flush", simple_path=True, layer=36, datatype=0))  # metal2
voltage_reference.add(gdstk.FlexPath([(21.1,31.89),(10.64,31.89)], 0.38, ends="flush", simple_path=True, layer=36, datatype=0))  # metal2
voltage_reference.add(gdstk.FlexPath([(15.87,25.975),(15.87,31.07)], 0.38, ends="flush", simple_path=True, layer=36, datatype=0))  # metal2
voltage_reference.add(gdstk.FlexPath([(19.655,31.7),(19.655,25.325)], 0.38, ends="flush", simple_path=True, layer=36, datatype=0))  # metal2
voltage_reference.add(gdstk.FlexPath([(12.09,31.7),(12.09,25.325)], 0.38, ends="flush", simple_path=True, layer=36, datatype=0))  # metal2
voltage_reference.add(gdstk.FlexPath([(-13.095,25.515),(2.485,25.515)], 0.38, ends="flush", simple_path=True, layer=36, datatype=0))  # metal2
voltage_reference.add(gdstk.FlexPath([(0.965,24.495),(-11.575,24.495)], 0.38, ends="flush", simple_path=True, layer=36, datatype=0))  # metal2
voltage_reference.add(gdstk.FlexPath([(-13.095,16.34),(2.485,16.34)], 0.38, ends="flush", simple_path=True, layer=36, datatype=0))  # metal2
voltage_reference.add(gdstk.FlexPath([(0.965,17.36),(-11.575,17.36)], 0.38, ends="flush", simple_path=True, layer=36, datatype=0))  # metal2
voltage_reference.add(gdstk.FlexPath([(7.79,19.075),(0.03,19.075),(0.03,24.305)], 0.38, ends="flush", simple_path=True, layer=36, datatype=0))  # metal2
voltage_reference.add(gdstk.FlexPath([(0.03,18.885),(0.03,17.55)], 0.38, ends="flush", simple_path=True, layer=36, datatype=0))  # metal2
voltage_reference.add(gdstk.FlexPath([(5.805,32.14),(5.805,18.885)], 0.38, ends="flush", simple_path=True, layer=36, datatype=0))  # metal2
voltage_reference.add(gdstk.FlexPath([(85.615,14.785),(85.615,13.17)], 0.38, ends="flush", simple_path=True, layer=36, datatype=0))  # metal2
voltage_reference.add(gdstk.FlexPath([(43.09,45.915),(52.19,45.915)], 0.38, ends="flush", simple_path=True, layer=36, datatype=0))  # metal2
voltage_reference.add(gdstk.FlexPath([(52,46.105),(52,44.255)], 0.38, ends="flush", simple_path=True, layer=36, datatype=0))  # metal2
voltage_reference.add(gdstk.FlexPath([(50.29,41.465),(53.71,41.465)], 0.38, ends="flush", simple_path=True, layer=36, datatype=0))  # metal2
voltage_reference.add(gdstk.FlexPath([(60.91,14.995),(51.81,14.995)], 0.38, ends="flush", simple_path=True, layer=36, datatype=0))  # metal2
voltage_reference.add(gdstk.FlexPath([(50.29,19.445),(53.71,19.445)], 0.38, ends="flush", simple_path=True, layer=36, datatype=0))  # metal2
voltage_reference.add(gdstk.FlexPath([(52,16.655),(52,14.805)], 0.38, ends="flush", simple_path=True, layer=36, datatype=0))  # metal2
voltage_reference.add(gdstk.FlexPath([(51.81,12.98),(13.345,12.98),(13.345,14.785)], 0.38, ends="flush", simple_path=True, layer=36, datatype=0))  # metal2
voltage_reference.add(gdstk.FlexPath([(18.395,14.785),(18.395,12.79)], 0.38, ends="flush", simple_path=True, layer=36, datatype=0))  # metal2
voltage_reference.add(gdstk.FlexPath([(87.94,28.37),(108.535,28.37)], 0.38, ends="flush", simple_path=True, layer=42, datatype=0))  # metal3
voltage_reference.add(gdstk.FlexPath([(108.535,28.37),(109.305,28.37),(109.305,24.305)], 0.38, ends="flush", simple_path=True, layer=42, datatype=0))  # metal3
voltage_reference.add(gdstk.FlexPath([(16.06,28.37),(-4.535,28.37)], 0.38, ends="flush", simple_path=True, layer=42, datatype=0))  # metal3
voltage_reference.add(gdstk.FlexPath([(-4.535,28.37),(-5.305,28.37),(-5.305,24.305)], 0.38, ends="flush", simple_path=True, layer=42, datatype=0))  # metal3
voltage_reference.add(gdstk.Reference(nfet, (80.64,15.075)))
voltage_reference.add(gdstk.Reference(nfet_3, (100.255,15.925)))
voltage_reference.add(gdstk.Reference(ppolyf_u_high_rs_resisto, (118.655,32.43), rotation=pi))
voltage_reference.add(gdstk.Reference(nfet, (23.36,15.075), rotation=pi, x_reflection=True))
voltage_reference.add(gdstk.Reference(nfet_3, (3.745,15.925), rotation=pi, x_reflection=True))
voltage_reference.add(gdstk.Reference(ppolyf_u_high_rs_resisto, (-14.655,32.43), x_reflection=True))
voltage_reference.add(gdstk.Reference(pfet, (49.03,43.965), x_reflection=True))
voltage_reference.add(gdstk.Reference(c_ppolyf_u_high_rs_resisto, (42.8,15.455), rotation=pi/2, x_reflection=True))
voltage_reference.add(gdstk.Reference(c_ppolyf_u_high_rs_resisto, (30.02,15.455), rotation=pi/2, x_reflection=True))
voltage_reference.add(gdstk.Reference(c_ppolyf_u_high_rs_resisto, (34.28,15.455), rotation=pi/2, x_reflection=True))
voltage_reference.add(gdstk.Reference(c_ppolyf_u_high_rs_resisto, (38.54,15.455), rotation=pi/2, x_reflection=True))
voltage_reference.add(gdstk.Reference(c_ppolyf_u_high_rs_resisto, (25.76,15.455), rotation=pi/2, x_reflection=True))
voltage_reference.add(gdstk.Reference(c_ppolyf_u_high_rs_resisto, (58.2,15.455), rotation=pi/2, x_reflection=True))
voltage_reference.add(gdstk.Reference(c_ppolyf_u_high_rs_resisto, (70.98,15.455), rotation=pi/2, x_reflection=True))
voltage_reference.add(gdstk.Reference(c_ppolyf_u_high_rs_resisto, (66.72,15.455), rotation=pi/2, x_reflection=True))
voltage_reference.add(gdstk.Reference(c_ppolyf_u_high_rs_resisto, (62.46,15.455), rotation=pi/2, x_reflection=True))
voltage_reference.add(gdstk.Reference(c_ppolyf_u_high_rs_resisto, (75.24,15.455), rotation=pi/2, x_reflection=True))
voltage_reference.add(gdstk.Reference(nfet_2, (49.03,21.945), x_reflection=True))
voltage_reference.add(gdstk.Reference(nfet_4, (48.11,59.15)))

lib.write_gds('voltage_reference.gds')
